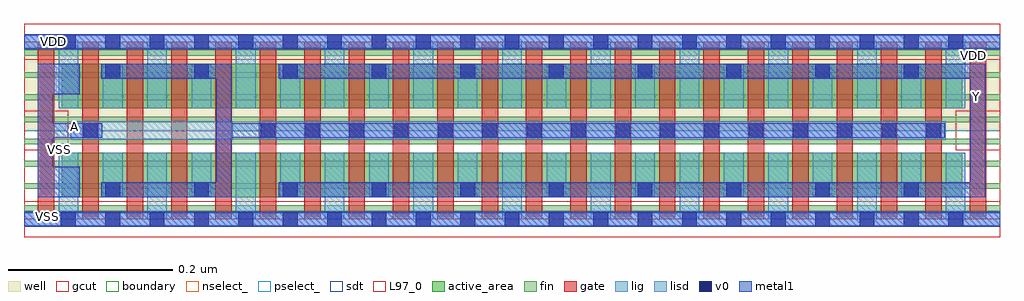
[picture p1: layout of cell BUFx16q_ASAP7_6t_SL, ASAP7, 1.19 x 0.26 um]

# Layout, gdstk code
import gdstk
lib = gdstk.Library(unit=1e-6, precision=2.5e-10)
def R(c, l, rs):  # rectangles x0, y0, x1, y1
    for r in rs: c.add(gdstk.rectangle(r[:2], r[2:], *l))
def A(c, l, x, y, w, h, nx, ny, dx, dy):  # array of equal rectangles
    R(c, l, [(x+i*dx, y+j*dy, x+i*dx+w, y+j*dy+h) for i in range(nx) for j in range(ny)])
def P(c, l, *ps):  # polygons
    for p in ps: c.add(gdstk.Polygon(p, *l))
well = (1, 0)
fin = (2, 0)
gate = (7, 0)
gcut = (10, 0)
active_area = (11, 0)
nselect_ = (12, 0)
pselect_ = (13, 0)
lig = (16, 0)
lisd = (17, 0)
v0 = (18, 0)
metal1 = (19, 0)
sdt = (88, 0)
L97_0 = (97, 0)
boundary = (100, 0)

bufx16q_asap7_6t_sl = lib.new_cell('BUFx16q_ASAP7_6t_SL')
R(bufx16q_asap7_6t_sl, well, [(0,0.108,1.188,0.216)])
A(bufx16q_asap7_6t_sl, fin, 0, 0.01, 1.188, 0.007, 1, 8, 0, 0.027)
A(bufx16q_asap7_6t_sl, gate, 0.017, 0, 0.02, 0.216, 22, 1, 0.054, 0)
R(bufx16q_asap7_6t_sl, gcut, [(0,-0.022,1.188,0.022), (0,0.084,0.054,0.132), (1.134,0.084,1.188,0.132), (0,0.194,1.188,0.238)])
R(bufx16q_asap7_6t_sl, active_area, [(0.046,0.027,1.142,0.081), (0.046,0.135,1.142,0.189)])
R(bufx16q_asap7_6t_sl, nselect_, [(0,0,1.188,0.108)])
R(bufx16q_asap7_6t_sl, pselect_, [(0,0.108,1.188,0.216)])
R(bufx16q_asap7_6t_sl, lig, [(0,-0.008,1.188,0.008), (0.057,0.097,0.254,0.119), (0.286,0.097,1.122,0.119), (0,0.208,1.188,0.224)])
A(bufx16q_asap7_6t_sl, lisd, 0.042, 0, 0.024, 0.081, 11, 2, 0.108, 0.135)
A(bufx16q_asap7_6t_sl, lisd, 0.096, 0.027, 0.024, 0.054, 10, 2, 0.108, 0.108)
A(bufx16q_asap7_6t_sl, v0, 0.045, -0.009, 0.018, 0.018, 21, 2, 0.054, 0.216)
A(bufx16q_asap7_6t_sl, v0, 0.099, 0.027, 0.018, 0.018, 10, 2, 0.108, 0.144)
A(bufx16q_asap7_6t_sl, v0, 0.288, 0.099, 0.018, 0.018, 16, 1, 0.054, 0)
R(bufx16q_asap7_6t_sl, v0, [(0.072,0.099,0.09,0.117)])
R(bufx16q_asap7_6t_sl, metal1, [(0,-0.009,1.188,0.009), (0,0.207,1.188,0.225)])
P(bufx16q_asap7_6t_sl, metal1, [(1.17,0.189),(0.31,0.189),(0.31,0.171),(1.152,0.171),(1.152,0.045),(0.31,0.045),(0.31,0.027),(1.17,0.027)],
  [(1.121,0.117),(0.252,0.117),(0.252,0.189),(0.094,0.189),(0.094,0.171),(0.234,0.171),(0.234,0.045),(0.094,0.045),(0.094,0.027),(0.252,0.027),(0.252,0.099),(1.121,0.099)],
  [(0.095,0.117),(0.035,0.117),(0.035,0.152),(0.068,0.152),(0.068,0.189),(0.017,0.189),(0.017,0.027),(0.068,0.027),(0.068,0.064),(0.035,0.064),(0.035,0.099),(0.095,0.099)])
A(bufx16q_asap7_6t_sl, sdt, 0.042, 0.027, 0.024, 0.054, 21, 2, 0.054, 0.108)
R(bufx16q_asap7_6t_sl, L97_0, [(0,0,1.188,0.216)])
R(bufx16q_asap7_6t_sl, boundary, [(0,0,1.188,0.216)])
bufx16q_asap7_6t_sl.add(gdstk.Label('Y', (1.16,0.149), layer=19, texttype=251))
bufx16q_asap7_6t_sl.add(gdstk.Label('VDD', (0.036,0.216), layer=19, texttype=251))
bufx16q_asap7_6t_sl.add(gdstk.Label('A', (0.061,0.113), layer=19, texttype=251))
bufx16q_asap7_6t_sl.add(gdstk.Label('VSS', (0.029,0.003), layer=19, texttype=251))
bufx16q_asap7_6t_sl.add(gdstk.Label('VSS', (0.043,0.085), layer=3, texttype=251))
bufx16q_asap7_6t_sl.add(gdstk.Label('VDD', (1.156,0.199), layer=1, texttype=251))

lib.write_gds('BUFx16q_ASAP7_6t_SL.gds')
